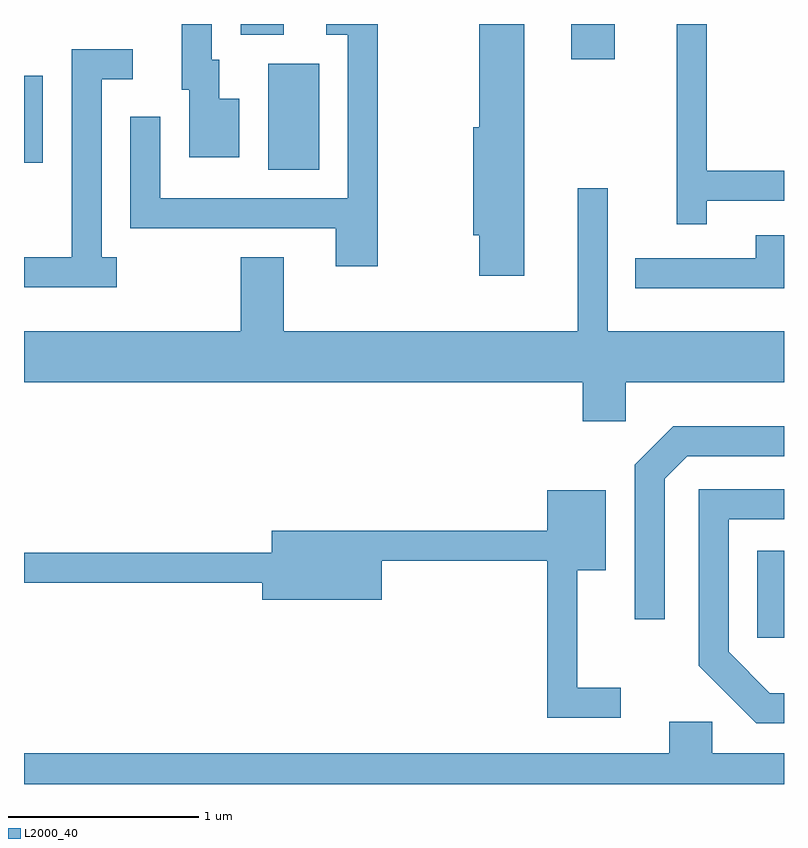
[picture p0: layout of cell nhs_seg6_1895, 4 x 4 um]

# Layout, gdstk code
import gdstk
lib = gdstk.Library(unit=1e-6, precision=1e-09)
def R(c, l, rs):  # rectangles x0, y0, x1, y1
    for r in rs: c.add(gdstk.rectangle(r[:2], r[2:], *l))
def P(c, l, *ps):  # polygons
    for p in ps: c.add(gdstk.Polygon(p, *l))
L2000_40 = (2000, 40)

nhs_seg6_1895 = lib.new_cell('nhs_seg6_1895')
R(nhs_seg6_1895, L2000_40, [(247.471,1530.931,247.611,1531.389), (244.896,1533.396,245.164,1533.954), (243.611,1533.431,243.709,1533.889), (246.491,1533.976,246.719,1534.162), (244.751,1534.106,244.979,1534.162)])
P(nhs_seg6_1895, L2000_40, [(245.474,1534.162),(245.203,1534.162),(245.203,1534.106),(245.316,1534.106),(245.316,1533.244),(244.329,1533.244),(244.329,1533.673),(244.171,1533.673),(244.171,1533.086),(245.251,1533.086),(245.251,1532.886),(245.474,1532.886)],
  [(247.204,1533.231),(247.611,1533.231),(247.611,1533.389),(247.204,1533.389),(247.204,1534.162),(247.046,1534.162),(247.046,1533.108),(247.204,1533.108)],
  [(244.744,1533.769),(244.639,1533.769),(244.639,1533.974),(244.599,1533.974),(244.599,1534.162),(244.441,1534.162),(244.441,1533.816),(244.481,1533.816),(244.481,1533.461),(244.744,1533.461)],
  [(246.244,1534.162),(246.006,1534.162),(246.006,1533.619),(245.976,1533.619),(245.976,1533.051),(246.006,1533.051),(246.006,1532.836),(246.244,1532.836)],
  [(244.098,1532.934),(244.019,1532.934),(244.019,1533.871),(244.183,1533.871),(244.183,1534.029),(243.861,1534.029),(243.861,1532.934),(243.611,1532.934),(243.611,1532.776),(244.098,1532.776)],
  [(246.779,1532.276),(247.611,1532.276),(247.611,1532.544),(246.684,1532.544),(246.684,1533.298),(246.526,1533.298),(246.526,1532.544),(244.979,1532.544),(244.979,1532.934),(244.751,1532.934),(244.751,1532.544),(243.611,1532.544),(243.611,1532.276),(246.551,1532.276),(246.551,1532.071),(246.779,1532.071)],
  [(247.611,1533.049),(247.461,1533.049),(247.461,1532.929),(246.828,1532.929),(246.828,1532.771),(247.611,1532.771)],
  [(246.984,1531.769),(247.102,1531.886),(247.611,1531.886),(247.611,1532.044),(247.029,1532.044),(246.826,1531.842),(246.826,1531.028),(246.984,1531.028)],
  [(247.611,1530.639),(247.537,1530.639),(247.319,1530.857),(247.319,1531.556),(247.611,1531.556),(247.611,1531.714),(247.161,1531.714),(247.161,1530.784),(247.464,1530.481),(247.611,1530.481)],
  [(246.753,1530.669),(246.524,1530.669),(246.524,1531.286),(246.674,1531.286),(246.674,1531.709),(246.366,1531.709),(246.366,1531.494),(244.916,1531.494),(244.916,1531.379),(243.611,1531.379),(243.611,1531.221),(244.866,1531.221),(244.866,1531.131),(245.494,1531.131),(245.494,1531.336),(246.366,1531.336),(246.366,1530.511),(246.753,1530.511)],
  [(247.611,1530.324),(247.234,1530.324),(247.234,1530.489),(247.006,1530.489),(247.006,1530.324),(243.611,1530.324),(243.611,1530.162),(247.611,1530.162)])

lib.write_gds('nhs_seg6_1895.gds')
